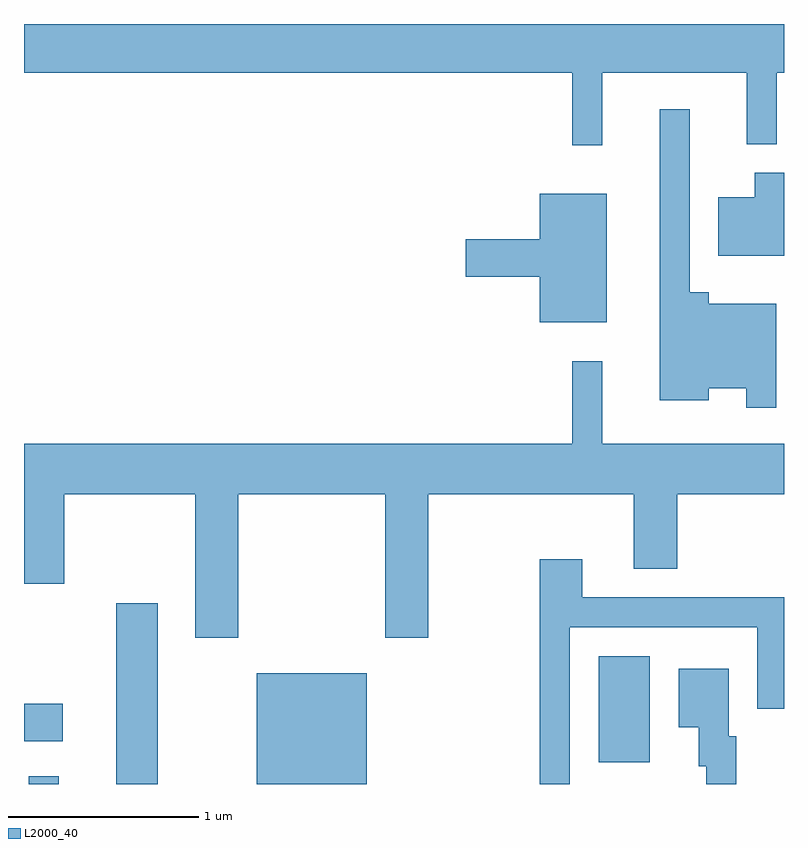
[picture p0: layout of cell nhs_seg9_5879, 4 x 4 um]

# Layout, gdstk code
import gdstk
lib = gdstk.Library(unit=1e-6, precision=1e-09)
def R(c, l, rs):  # rectangles x0, y0, x1, y1
    for r in rs: c.add(gdstk.rectangle(r[:2], r[2:], *l))
def P(c, l, *ps):  # polygons
    for p in ps: c.add(gdstk.Polygon(p, *l))
L2000_40 = (2000, 40)

nhs_seg9_5879 = lib.new_cell('nhs_seg9_5879')
R(nhs_seg9_5879, L2000_40, [(357.636,2072.432,357.794,2072.472), (358.096,2072.432,358.314,2073.384), (358.836,2072.432,359.414,2073.014), (360.636,2072.546,360.904,2073.104), (357.611,2072.656,357.814,2072.854)])
P(nhs_seg9_5879, L2000_40, [(360.654,2076.176),(361.416,2076.176),(361.416,2075.798),(361.574,2075.798),(361.574,2076.176),(361.611,2076.176),(361.611,2076.432),(357.611,2076.432),(357.611,2076.176),(360.496,2076.176),(360.496,2075.793),(360.654,2075.793)],
  [(361.569,2074.959),(361.214,2074.959),(361.214,2075.019),(361.114,2075.019),(361.114,2075.983),(360.956,2075.983),(360.956,2074.451),(361.214,2074.451),(361.214,2074.516),(361.411,2074.516),(361.411,2074.413),(361.569,2074.413)],
  [(361.611,2075.649),(361.456,2075.649),(361.456,2075.519),(361.266,2075.519),(361.266,2075.211),(361.611,2075.211)],
  [(360.679,2075.539),(360.326,2075.539),(360.326,2075.299),(359.936,2075.299),(359.936,2075.101),(360.326,2075.101),(360.326,2074.861),(360.679,2074.861)],
  [(358.739,2073.956),(359.511,2073.956),(359.511,2073.201),(359.739,2073.201),(359.739,2073.956),(360.821,2073.956),(360.821,2073.566),(361.049,2073.566),(361.049,2073.956),(361.611,2073.956),(361.611,2074.224),(360.654,2074.224),(360.654,2074.658),(360.496,2074.658),(360.496,2074.224),(357.611,2074.224),(357.611,2073.486),(357.824,2073.486),(357.824,2073.956),(358.511,2073.956),(358.511,2073.201),(358.739,2073.201)],
  [(360.484,2073.256),(361.471,2073.256),(361.471,2072.827),(361.611,2072.827),(361.611,2073.414),(360.549,2073.414),(360.549,2073.614),(360.326,2073.614),(360.326,2072.432),(360.484,2072.432)],
  [(361.359,2072.684),(361.319,2072.684),(361.319,2073.039),(361.056,2073.039),(361.056,2072.731),(361.161,2072.731),(361.161,2072.526),(361.201,2072.526),(361.201,2072.432),(361.359,2072.432)])

lib.write_gds('nhs_seg9_5879.gds')
